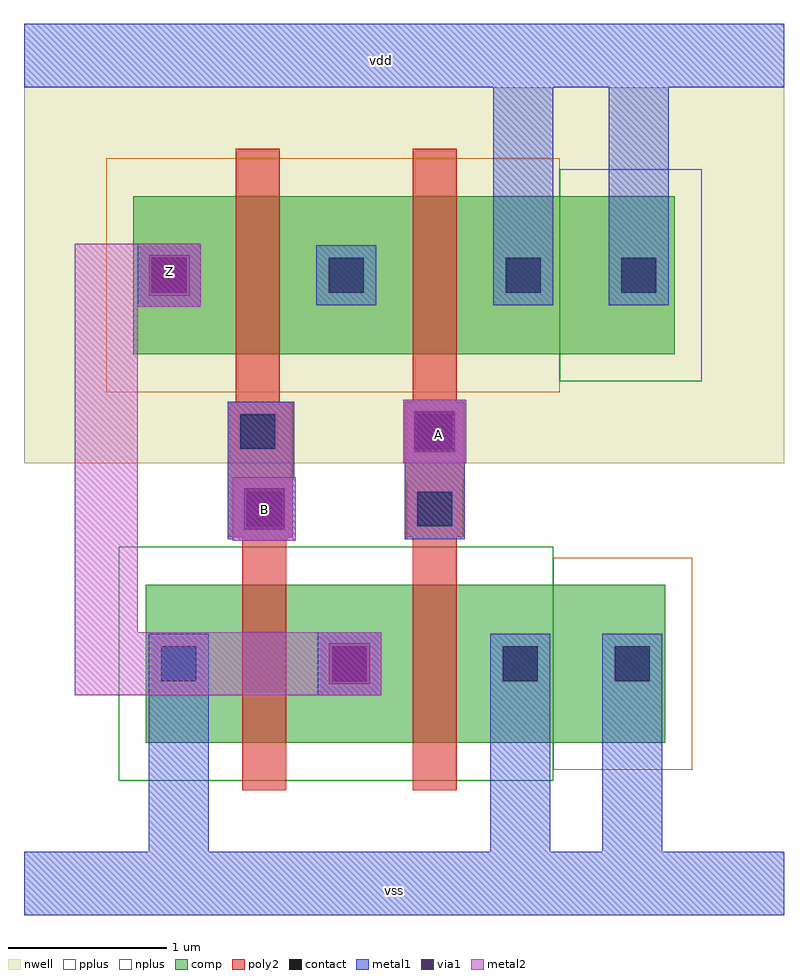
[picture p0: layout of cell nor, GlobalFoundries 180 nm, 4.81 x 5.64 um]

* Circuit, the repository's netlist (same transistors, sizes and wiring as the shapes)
** sch_path: /foss/designs/Mosbious_2025_Spikcore/designs/libs/core_LIF_comp/core_nor/nor.sch
.subckt nor vdd vss A B Z
*.PININFO vdd:B vss:B A:I Z:O B:I
XM1 net1 A vdd vdd pfet_03v3 L=0.28u W=1u nf=1 m=1
XM3 Z B vss vss nfet_03v3 L=0.28u W=1u nf=1 m=1
XM2 Z A vss vss nfet_03v3 L=0.28u W=1u nf=1 m=1
XM4 Z B net1 vdd pfet_03v3 L=0.28u W=1u nf=1 m=1
.ends

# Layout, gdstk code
import gdstk
lib = gdstk.Library(unit=1e-6, precision=5e-09)
def R(c, l, rs):  # rectangles x0, y0, x1, y1
    for r in rs: c.add(gdstk.rectangle(r[:2], r[2:], *l))
nwell = (21, 0)
comp = (22, 0)
poly2 = (30, 0)
pplus = (31, 0)
nplus = (32, 0)
contact = (33, 0)
metal1 = (34, 0)
via1 = (35, 0)
metal2 = (36, 0)

pfet = lib.new_cell('pfet')

pfet_1 = lib.new_cell('pfet$1')
R(pfet_1, nwell, [(-0.9,-0.44,1.56,1.44)])
R(pfet_1, comp, [(-0.46,0,0,1), (0,0,0.66,1), (0.66,0,1.12,1)])
R(pfet_1, poly2, [(0.14,-0.68,0.52,-0.3), (0.19,-0.3,0.47,1.3)])
R(pfet_1, pplus, [(-0.63,-0.24,1.29,1.24)])
R(pfet_1, contact, [(0.22,-0.6,0.44,-0.38), (-0.34,0.39,-0.12,0.61), (0.78,0.39,1,0.61)])
R(pfet_1, metal1, [(0.14,-0.68,0.52,-0.3), (-0.42,0.31,-0.04,0.69), (0.7,0.31,1.08,0.69)])

via_dev = lib.new_cell('via_dev')

via_dev_1 = lib.new_cell('via_dev$1')
R(via_dev_1, metal1, [(0,0,0.4,0.4)])
R(via_dev_1, via1, [(0.07,0.07,0.33,0.33)])
R(via_dev_1, metal2, [(0,0,0.4,0.4)])

pfet_2 = lib.new_cell('pfet$2')
R(pfet_2, nwell, [(-1.15,-0.69,2.54,1.69)])
R(pfet_2, comp, [(-0.46,0,0,1), (0,0,0.66,1), (0.66,0,1.12,1), (1.12,0,1.85,1)])
R(pfet_2, poly2, [(0.14,-0.68,0.52,-0.3), (0.19,-0.3,0.47,1.3)])
R(pfet_2, pplus, [(-0.63,-0.24,1.12,1.24)])
R(pfet_2, nplus, [(1.12,-0.17,2.02,1.17)])
R(pfet_2, contact, [(0.22,-0.6,0.44,-0.38), (-0.34,0.39,-0.12,0.61), (0.78,0.39,1,0.61), (1.51,0.39,1.73,0.61)])
R(pfet_2, metal1, [(0.14,-0.68,0.52,-0.3), (-0.42,0.31,-0.04,0.69), (0.7,0.31,1.08,0.69), (1.43,0.31,1.81,0.69)])

nfet = lib.new_cell('nfet')
R(nfet, comp, [(-0.42,0,0,1), (0,0,0.66,1), (0.66,0,1.08,1), (1.08,0,1.79,1)])
R(nfet, poly2, [(0.19,-0.3,0.47,1.3), (0.15,1.3,0.51,1.66)])
R(nfet, pplus, [(1.08,-0.17,1.96,1.17)])
R(nfet, nplus, [(-0.59,-0.24,1.08,1.24)])
R(nfet, contact, [(-0.32,0.39,-0.1,0.61), (0.76,0.39,0.98,0.61), (1.47,0.39,1.69,0.61), (0.22,1.37,0.44,1.59)])
R(nfet, metal1, [(-0.4,0.31,-0.02,0.69), (0.68,0.31,1.06,0.69), (1.39,0.31,1.77,0.69), (0.14,1.29,0.52,1.67)])

nfet_1 = lib.new_cell('nfet$1')
R(nfet_1, comp, [(-0.42,0,0,1), (0,0,0.66,1), (0.66,0,1.08,1)])
R(nfet_1, poly2, [(0.19,-0.3,0.47,1.3), (0.15,1.3,0.51,1.66)])
R(nfet_1, nplus, [(-0.59,-0.24,1.25,1.24)])
R(nfet_1, contact, [(-0.32,0.39,-0.1,0.61), (0.76,0.39,0.98,0.61), (0.22,1.37,0.44,1.59)])
R(nfet_1, metal1, [(-0.4,0.31,-0.02,0.69), (0.68,0.31,1.06,0.69), (0.14,1.29,0.52,1.67)])

nor = lib.new_cell('nor')
R(nor, nwell, [(-1.325,-1.48,-0.205,0.9)])
R(nor, poly2, [(-0.035,-1.95,0.375,-1.09), (1.085,-1.59,1.465,-1.49), (1.085,-1.49,1.465,-1.47)])
R(nor, metal1, [(-1.325,-4.34,3.485,-3.94), (-0.535,-3.94,-0.155,-2.56), (1.625,-3.94,2.005,-2.56), (2.335,-3.94,2.715,-2.56), (-0.035,-1.96,0.385,-1.09), (1.085,-1.58,1.465,-1.47), (1.085,-1.48,1.465,-1.47), (1.645,-0.475,2.025,0.9), (2.375,-0.475,2.755,0.9), (-1.325,0.9,3.485,1.3)])
nor.add(gdstk.FlexPath([(0.545,-2.75),(-0.805,-2.75),(-0.805,-0.09),(-0.805,-0.09),(-0.805,-0.09)], 0.4, ends="flush", simple_path=True, layer=36, datatype=0))  # metal2
nor.add(gdstk.Reference(pfet, (5.155,-2.67)))
nor.add(gdstk.Reference(pfet_1, (-0.175,-0.79)))
nor.add(gdstk.Reference(via_dev, (-0.94,-1.74)))
nor.add(gdstk.Reference(via_dev_1, (1.075,-1.48)))
nor.add(gdstk.Reference(pfet_2, (0.945,-0.79)))
nor.add(gdstk.Reference(via_dev_1, (-0.605,-0.49)))
nor.add(gdstk.Reference(nfet, (0.945,-3.25)))
nor.add(gdstk.Reference(via_dev_1, (-0.005,-1.97)))
nor.add(gdstk.Reference(nfet_1, (-0.135,-3.25)))
nor.add(gdstk.Reference(via_dev_1, (0.535,-2.95)))
nor.add(gdstk.Label('vss', (1.02,-4.185), layer=34, texttype=10))
nor.add(gdstk.Label('vdd', (0.94,1.07), layer=34, texttype=10))
nor.add(gdstk.Label('A', (1.3,-1.3), layer=36, texttype=10))
nor.add(gdstk.Label('B', (0.2,-1.775), layer=36, texttype=10))
nor.add(gdstk.Label('Z', (-0.405,-0.265), layer=36, texttype=10))

lib.write_gds('nor.gds')
